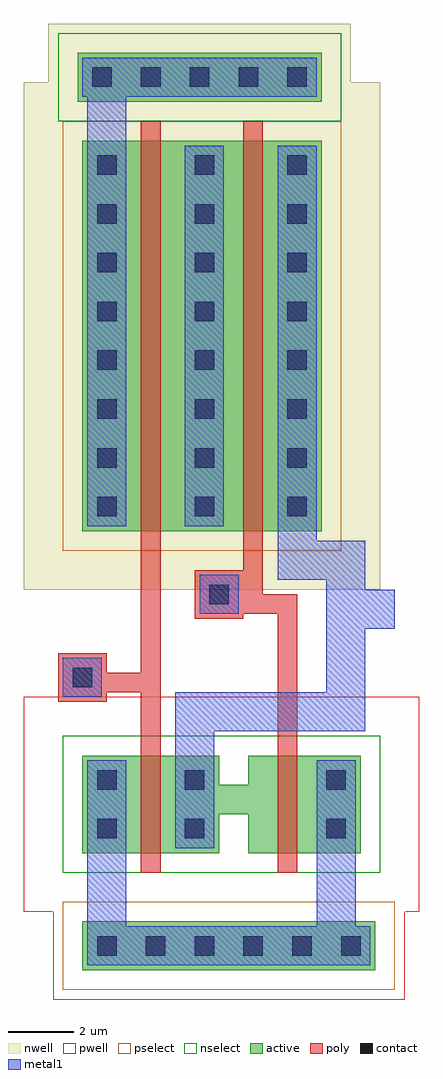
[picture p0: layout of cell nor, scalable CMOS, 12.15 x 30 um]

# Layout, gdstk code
import gdstk
lib = gdstk.Library(unit=1e-6, precision=1e-09)
def R(c, l, rs):  # rectangles x0, y0, x1, y1
    for r in rs: c.add(gdstk.rectangle(r[:2], r[2:], *l))
def A(c, l, x, y, w, h, nx, ny, dx, dy):  # array of equal rectangles
    R(c, l, [(x+i*dx, y+j*dy, x+i*dx+w, y+j*dy+h) for i in range(nx) for j in range(ny)])
contact = (25, 0)
pwell = (41, 0)
nwell = (42, 0)
active = (43, 0)
pselect = (44, 0)
nselect = (45, 0)
poly = (46, 0)
metal1 = (49, 0)

nor = lib.new_cell('nor')
A(nor, contact, -13.8, 2.1, 0.6, 0.6, 6, 1, 1.5, 0)
A(nor, contact, -13.8, 15.6, 0.6, 0.6, 1, 8, 0, 1.5)
A(nor, contact, -10.8, 15.6, 0.6, 0.6, 1, 8, 0, 1.5)
A(nor, contact, -7.95, 15.6, 0.6, 0.6, 1, 8, 0, 1.5)
A(nor, contact, -13.95, 28.8, 0.6, 0.6, 5, 1, 1.5, 0)
R(nor, contact, [(-13.8,5.7,-13.2,6.3), (-11.1,5.7,-10.5,6.3), (-6.75,5.7,-6.15,6.3), (-13.8,7.2,-13.2,7.8), (-11.1,7.2,-10.5,7.8), (-6.75,7.2,-6.15,7.8), (-14.55,10.35,-13.95,10.95), (-10.35,12.9,-9.75,13.5)])
R(nor, pwell, [(-15.15,0.75,-4.35,4.05), (-16.05,3.45,-10.95,10.05), (-15.15,3.45,-9.15,10.05), (-13.35,3.45,-8.25,10.05), (-10.95,3.45,-4.95,10.05), (-9,3.45,-3.9,10.05), (-15.75,4.35,-11.025,8.85), (-9.075,4.5,-4.35,9), (-13.275,4.65,-8.4,9.15), (-12.9,4.65,-6.825,9.15)])
R(nor, nwell, [(-16.05,13.35,-10.95,28.95), (-15.15,13.35,-9.15,28.95), (-13.05,13.35,-7.95,28.95), (-12,13.35,-6,28.95), (-10.2,13.35,-5.1,28.95), (-15.75,19.65,-11.025,24.15), (-13.275,19.65,-8.1,24.15), (-12.6,19.65,-7.875,24.15), (-10.125,19.65,-5.25,24.15), (-15.3,27.45,-6,30.75)])
R(nor, active, [(-14.25,1.65,-5.25,3.15), (-14.25,5.25,-12.75,8.25), (-13.35,5.25,-10.95,8.25), (-11.55,5.25,-10.05,8.25), (-9.15,5.25,-6.75,8.25), (-7.2,5.25,-5.7,8.25), (-13.95,6.15,-12.825,7.05), (-7.275,6.3,-6.15,7.2), (-11.475,6.45,-10.2,7.35), (-11.1,6.45,-8.625,7.35), (-14.25,15.15,-12.75,27.15), (-13.35,15.15,-10.95,27.15), (-11.25,15.15,-9.75,27.15), (-10.2,15.15,-7.8,27.15), (-8.4,15.15,-6.9,27.15), (-13.95,21.45,-12.825,22.35), (-11.475,21.45,-9.9,22.35), (-10.8,21.45,-9.675,22.35), (-8.325,21.45,-7.05,22.35), (-14.4,28.35,-6.9,29.85)])
R(nor, pselect, [(-14.85,1.05,-4.65,3.75), (-14.85,14.55,-12.15,27.75), (-13.95,14.55,-10.35,27.75), (-11.85,14.55,-9.15,27.75), (-10.8,14.55,-7.2,27.75), (-9,14.55,-6.3,27.75), (-14.55,20.85,-12.225,22.95), (-12.075,20.85,-9.3,22.95), (-11.4,20.85,-9.075,22.95), (-8.925,20.85,-6.45,22.95)])
R(nor, nselect, [(-14.85,4.65,-12.15,8.85), (-13.95,4.65,-10.35,8.85), (-12.15,4.65,-9.45,8.85), (-9.75,4.65,-6.15,8.85), (-7.8,4.65,-5.1,8.85), (-14.55,5.55,-12.225,7.65), (-7.875,5.7,-5.55,7.8), (-12.075,5.85,-9.6,7.95), (-11.7,5.85,-8.025,7.95), (-15,27.75,-6.3,30.45)])
R(nor, poly, [(-12.45,4.65,-11.85,8.85), (-8.25,4.65,-7.65,8.85), (-12.45,8.55,-11.85,10.8), (-8.25,8.55,-7.65,13.2), (-15,9.9,-13.5,11.4), (-14.55,10.2,-11.85,10.8), (-12.45,10.2,-11.85,10.95), (-12.45,10.35,-11.85,11.55), (-12.45,10.35,-11.85,11.85), (-12.45,11.25,-11.85,14.85), (-10.8,12.45,-9.3,13.95), (-9.3,12.6,-8.7,13.65), (-9.3,12.6,-7.65,13.2), (-10.5,13.05,-8.7,13.65), (-9.3,13.05,-8.7,14.85), (-12.45,14.55,-11.85,27.75), (-9.3,14.55,-8.7,27.75)])
R(nor, metal1, [(-14.1,1.8,-5.4,3), (-14.1,1.8,-12.9,7.35), (-7.05,1.8,-5.85,7.35), (-14.1,5.4,-12.9,8.1), (-11.4,5.4,-10.2,8.1), (-7.05,5.4,-5.85,8.1), (-11.4,6.15,-10.2,9.3), (-11.4,8.1,-10.2,10.2), (-11.4,9,-5.55,10.2), (-6.75,9,-5.55,13.35), (-14.85,10.05,-13.65,11.25), (-6.75,12.15,-5.55,14.85), (-6.75,12.15,-4.65,13.35), (-10.65,12.6,-9.45,13.8), (-8.25,13.65,-5.55,14.85), (-8.25,13.65,-7.05,21.75), (-14.1,15.3,-12.9,27), (-11.1,15.3,-9.9,27), (-8.25,15.3,-7.05,27), (-14.1,20.55,-12.9,29.7), (-14.25,28.5,-7.05,29.7)])

lib.write_gds('nor.gds')
